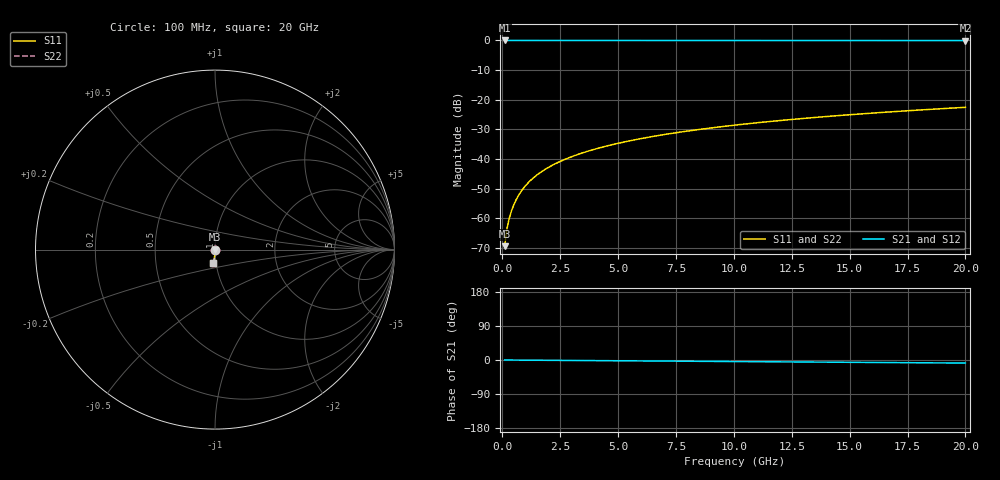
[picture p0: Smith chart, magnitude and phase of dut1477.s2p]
! Touchstone file exported from HFSS 2026.1.0
!  File:  C:/ffzhzh/LocalFiles/Ansys_Project_Files/temp_train_TSV_1477_1783198496_51560.aedt
!  Generated:  04:56:28 AM Jul  5, 2026
!  Design:  TSV
!  Project:  temp_train_TSV_1477_1783198496_51560
! Variables:
!  h_bsmrdl = 2um
!  h_ox = 20um
!  h_rdl = 5um
!  h_sub = 72.61um
!  h_tmrdl = 5um
!  h_tsv = 72.61um
!  h_via = 3um
!  l_bsmrdl = 300um
!  l_sub = 425.3um
!  l_tmrdl = 200um
!  m_sub = 200um
!  pitch = 32.65um
!  r_tsv = 12.65um
!  s_tmrdl = 10um
!  w_bsmrdl = 18um
!  w_sub = 500um
!  w_tmrdl = 12um
!  x_tsv_center1 = 206um
!  x_tsv_center2 = 524um
!  x_tsv_center3 = 736um
!  x_tsv_center4 = 1054um
!  x_tsv_center5 = 1266um
!  x_tsv_center6 = 1584um
# GHz S MA R 50.000000
! Terminal data exported
! Port[1] = TSV1_1_T1
! Port[2] = TSV1_1_T2
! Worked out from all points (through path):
!   200 points, 100 MHz to 20 GHz, reference 50 ohm
!   highest |S21| = 0.00 dB at 100 MHz (marker M1); lowest = 0.0 dB at 20 GHz (marker M2)
!   group delay of S21, straight-line fit = 1.12 ps
!   lowest |S11| = -69.4 dB at 100 MHz (marker M3), VSWR 1.00, Z = 50 - j0.0325 ohm
!   |S11| at or under -10 dB: start of sweep to end of sweep
!   |S22| runs from -69.4 to -22.6 dB; largest |S21 - S12| = 5.5e-15
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0.1  0.0003384 -73.7  0.9999 -0.0  0.9999 -0.0  0.0003384 -73.7
! Gamma 0 0 0 0
! Port Impedance 50 0 50 0
0.2  0.0006638 -80.4  0.9999 -0.1  0.9999 -0.1  0.0006638 -80.4
0.3  0.001001 -82.3  0.9999 -0.1  0.9999 -0.1  0.001001 -82.3
0.4  0.001347 -83.2  0.9998 -0.2  0.9998 -0.2  0.001347 -83.2
0.5  0.001702 -83.8  0.9998 -0.2  0.9998 -0.2  0.001702 -83.8
0.7  0.002427 -84.6  0.9998 -0.3  0.9998 -0.3  0.002427 -84.6
0.8  0.002794 -84.9  0.9997 -0.3  0.9997 -0.3  0.002794 -84.9
1  0.003534 -85.6  0.9997 -0.4  0.9997 -0.4  0.003534 -85.6
1.2  0.004276 -86.1  0.9997 -0.5  0.9997 -0.5  0.004276 -86.1
1.4  0.005018 -86.6  0.9996 -0.6  0.9996 -0.6  0.005018 -86.6
1.7  0.006131 -87.2  0.9996 -0.7  0.9996 -0.7  0.006131 -87.2
2  0.007244 -87.7  0.9996 -0.8  0.9996 -0.8  0.007244 -87.7
2.7  0.00984 -88.5  0.9995 -1.1  0.9995 -1.1  0.00984 -88.5
3.5  0.01281 -89.2  0.9994 -1.4  0.9994 -1.4  0.01281 -89.2
4.2  0.01542 -89.6  0.9993 -1.7  0.9993 -1.7  0.01542 -89.6
5  0.0184 -90.1  0.9992 -2.0  0.9992 -2.0  0.0184 -90.1
6.8  0.02513 -91.1  0.999 -2.8  0.999 -2.8  0.02513 -91.1
8.3  0.03075 -91.9  0.9987 -3.4  0.9987 -3.4  0.03075 -91.9
10.1  0.0375 -92.8  0.9984 -4.1  0.9984 -4.1  0.0375 -92.8
13.4  0.04985 -94.3  0.9977 -5.4  0.9977 -5.4  0.04985 -94.3
16.7  0.06218 -95.7  0.9969 -6.8  0.9969 -6.8  0.06218 -95.7
20  0.07448 -97.1  0.996 -8.1  0.996 -8.1  0.07448 -97.1
